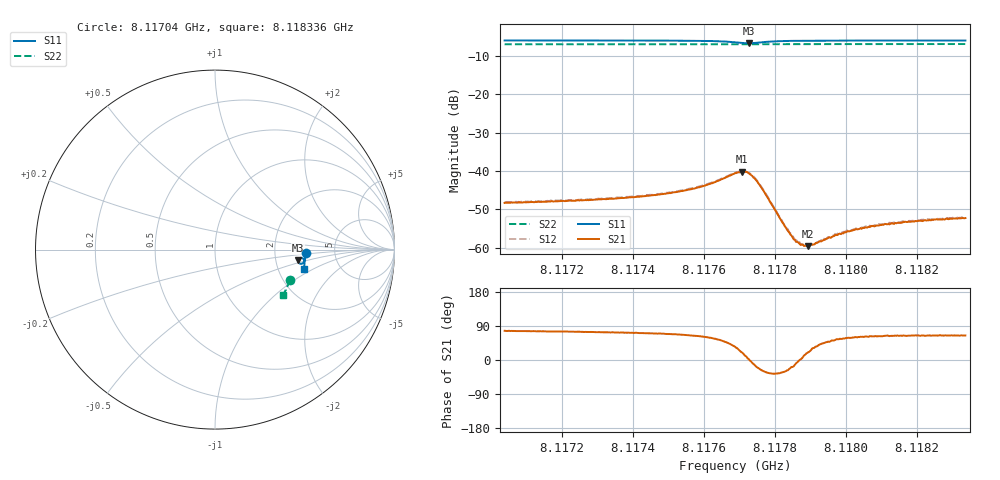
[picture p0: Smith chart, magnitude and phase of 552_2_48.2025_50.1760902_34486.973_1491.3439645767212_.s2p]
#  HZ  S  RI  R  50.00
! Rohde & Schwarz Vector Network Analyzer
! Rohde-Schwarz,ZNB20-2Port,1311601062101988,3.16
! Created: UTC 3/20/2024, 12:00:50 PM
! freq[Hz]  re:S11  im:S11  re:S21  im:S21  re:S12  im:S12  re:S22  im:S22
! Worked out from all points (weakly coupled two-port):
!   401 points, 8.11704 GHz to 8.118336 GHz, reference 50 ohm
!   highest |S21| = -40.14 dB at 8.117707 GHz (marker M1); lowest = -59.6 dB at 8.117892 GHz (marker M2)
!   lowest |S11| = -6.6 dB at 8.117727 GHz (marker M3), VSWR 2.74, Z = 134 - j20.3 ohm
!   |S11| at or under -10 dB: nowhere
!   |S22| runs from -6.9 to -6.8 dB; largest |S21 - S12| = 0.00037
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8.1170397e9  0.5064 -0.0185  0.000862 0.00374  0.000915 0.00381  0.4179 -0.1711
8.1172568e9  0.5048 -0.0361  0.00112 0.004  0.0012 0.00409  0.4124 -0.1853
8.11738e9  0.5033 -0.0467  0.00136 0.00427  0.00146 0.00433  0.4089 -0.1932
8.117474e9  0.5016 -0.0556  0.00171 0.00465  0.00182 0.00467  0.4063 -0.1994
8.1175485e9  0.4988 -0.0637  0.00229 0.00512  0.00234 0.00522  0.4041 -0.2043
8.1175939e9  0.4959 -0.0696  0.00294 0.00557  0.00305 0.00566  0.4027 -0.2071
8.117636e9  0.4901 -0.0755  0.00423 0.00601  0.00426 0.00612  0.4011 -0.2099
8.1176879e9  0.4733 -0.0786  0.00769 0.00541  0.00786 0.00538  0.3989 -0.2129
8.1177073e9  0.4646 -0.0722  0.00925 0.00336  0.00943 0.00343  0.398 -0.2137
8.1177267e9  0.4618 -0.0594  0.00934 0.000362  0.00953 0.000265  0.3975 -0.2143
8.1177397e9  0.4655 -0.0513  0.00809 -0.00152  0.00838 -0.00161  0.3974 -0.2147
8.1177559e9  0.4739 -0.0462  0.00619 -0.00261  0.00631 -0.00271  0.3973 -0.2155
8.1178207e9  0.4943 -0.0543  0.00181 -0.00117  0.00183 -0.00124  0.3962 -0.22
8.1178531e9  0.4972 -0.0602  0.00123 -0.000362  0.00129 -0.000363  0.3953 -0.2222
8.1178758e9  0.4981 -0.0636  0.00109 7.71e-05  0.00112 5.64e-05  0.3946 -0.2238
8.117892e9  0.4985 -0.066  0.000989 0.000344  0.00103 0.000334  0.3941 -0.2248
8.117905e9  0.4986 -0.0678  0.00094 0.000556  0.000974 0.000518  0.3937 -0.2257
8.117999e9  0.4987 -0.0783  0.000842 0.00134  0.000885 0.00136  0.3907 -0.2317
8.1180703e9  0.498 -0.085  0.00088 0.0017  0.000874 0.00169  0.3882 -0.2362
8.1181221e9  0.4973 -0.0896  0.000915 0.0018  0.000941 0.0019  0.3864 -0.2393
8.1182485e9  0.4954 -0.1  0.001 0.00212  0.00102 0.00216  0.382 -0.247
8.118336e9  0.4941 -0.1069  0.00104 0.0022  0.00106 0.00224  0.3788 -0.2523
